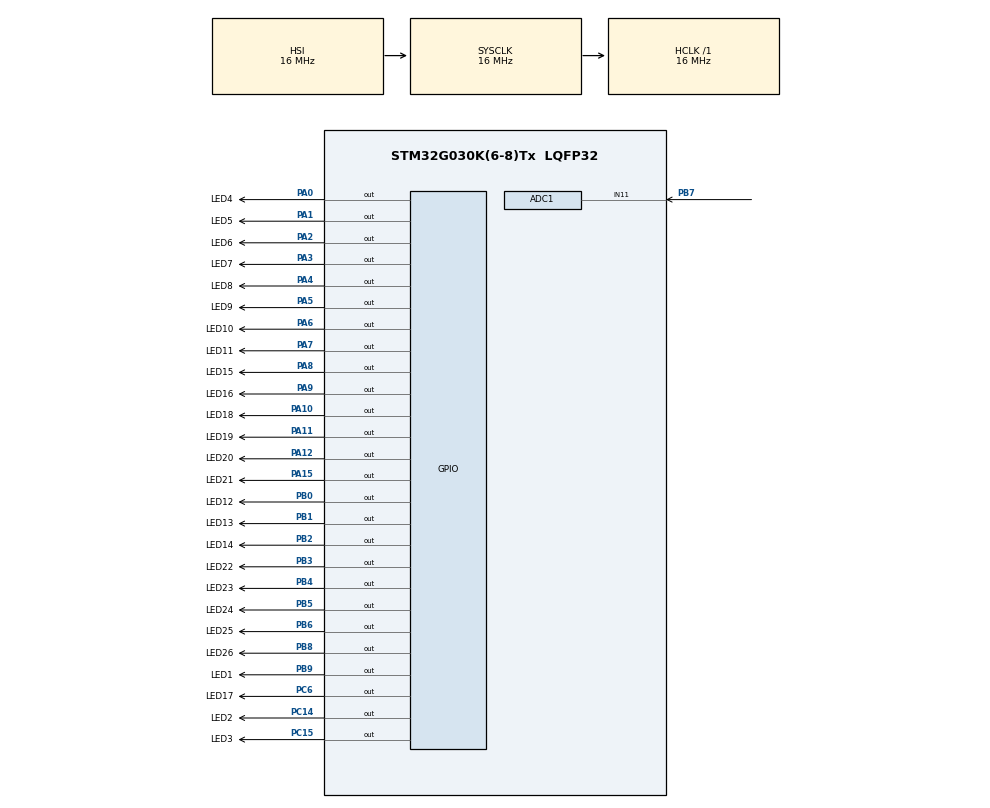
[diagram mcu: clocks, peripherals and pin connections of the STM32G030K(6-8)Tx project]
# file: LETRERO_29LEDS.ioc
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ADC1.Channel-0\#ChannelRegularConversion=ADC_CHANNEL_11
ADC1.NbrOfConversionFlag=1
ADC1.Rank-0\#ChannelRegularConversion=1
ADC1.SamplingTime-0\#ChannelRegularConversion=ADC_SAMPLINGTIME_COMMON_1
ADC1.SamplingTimeCommon1=ADC_SAMPLETIME_160CYCLES_5
ADC1.SamplingTimeCommon2=ADC_SAMPLETIME_160CYCLES_5
ADC1.SelectedChannel=ADC_CHANNEL_11
ADC1.master=1
Mcu.Family=STM32G0
Mcu.Name=STM32G030K(6-8)Tx
Mcu.Package=LQFP32
NVIC.ADC1_IRQn=true\:0\:0\:false\:false\:true\:true\:true\:true
PA0.GPIO_Label=LED4
PA0.GPIO_ModeDefaultOutputPP=GPIO_MODE_OUTPUT_OD
PA0.GPIO_PuPd=GPIO_NOPULL
PA0.Signal=GPIO_Output
PA1.GPIO_Label=LED5
PA1.GPIO_ModeDefaultOutputPP=GPIO_MODE_OUTPUT_OD
PA1.GPIO_PuPd=GPIO_NOPULL
PA1.Signal=GPIO_Output
PA10.GPIO_Label=LED18
PA10.GPIO_ModeDefaultOutputPP=GPIO_MODE_OUTPUT_OD
PA10.GPIO_PuPd=GPIO_NOPULL
PA10.Signal=GPIO_Output
PA11\ [PA9].GPIO_Label=LED19
PA11\ [PA9].GPIO_ModeDefaultOutputPP=GPIO_MODE_OUTPUT_OD
PA11\ [PA9].GPIO_PuPd=GPIO_NOPULL
PA11\ [PA9].Signal=GPIO_Output
PA12\ [PA10].GPIO_Label=LED20
PA12\ [PA10].GPIO_ModeDefaultOutputPP=GPIO_MODE_OUTPUT_OD
PA12\ [PA10].GPIO_PuPd=GPIO_NOPULL
PA12\ [PA10].Signal=GPIO_Output
PA13.Mode=Serial_Wire
PA13.Signal=SYS_SWDIO
PA14-BOOT0.Mode=Serial_Wire
PA14-BOOT0.Signal=SYS_SWCLK
PA15.GPIO_Label=LED21
PA15.GPIO_ModeDefaultOutputPP=GPIO_MODE_OUTPUT_OD
PA15.GPIO_PuPd=GPIO_NOPULL
PA15.Signal=GPIO_Output
PA2.GPIO_Label=LED6
PA2.GPIO_ModeDefaultOutputPP=GPIO_MODE_OUTPUT_OD
PA2.GPIO_PuPd=GPIO_NOPULL
PA2.Signal=GPIO_Output
PA3.GPIO_Label=LED7
PA3.GPIO_ModeDefaultOutputPP=GPIO_MODE_OUTPUT_OD
PA3.GPIO_PuPd=GPIO_NOPULL
PA3.Signal=GPIO_Output
PA4.GPIO_Label=LED8
PA4.GPIO_ModeDefaultOutputPP=GPIO_MODE_OUTPUT_OD
PA4.GPIO_PuPd=GPIO_NOPULL
PA4.Signal=GPIO_Output
PA5.GPIO_Label=LED9
PA5.GPIO_ModeDefaultOutputPP=GPIO_MODE_OUTPUT_OD
PA5.GPIO_PuPd=GPIO_NOPULL
PA5.Signal=GPIO_Output
PA6.GPIO_Label=LED10
PA6.GPIO_ModeDefaultOutputPP=GPIO_MODE_OUTPUT_OD
PA6.GPIO_PuPd=GPIO_NOPULL
PA6.Signal=GPIO_Output
PA7.GPIO_Label=LED11
PA7.GPIO_ModeDefaultOutputPP=GPIO_MODE_OUTPUT_OD
PA7.GPIO_PuPd=GPIO_NOPULL
PA7.Signal=GPIO_Output
PA8.GPIO_Label=LED15
PA8.GPIO_ModeDefaultOutputPP=GPIO_MODE_OUTPUT_OD
PA8.GPIO_PuPd=GPIO_NOPULL
PA8.Signal=GPIO_Output
PA9.GPIO_Label=LED16
PA9.GPIO_ModeDefaultOutputPP=GPIO_MODE_OUTPUT_OD
PA9.GPIO_PuPd=GPIO_NOPULL
PA9.Signal=GPIO_Output
PB0.GPIO_Label=LED12
PB0.GPIO_ModeDefaultOutputPP=GPIO_MODE_OUTPUT_OD
PB0.GPIO_PuPd=GPIO_NOPULL
PB0.Signal=GPIO_Output
PB1.GPIO_Label=LED13
PB1.GPIO_ModeDefaultOutputPP=GPIO_MODE_OUTPUT_OD
PB1.GPIO_PuPd=GPIO_NOPULL
PB1.Signal=GPIO_Output
PB2.GPIO_Label=LED14
PB2.GPIO_ModeDefaultOutputPP=GPIO_MODE_OUTPUT_OD
PB2.GPIO_PuPd=GPIO_NOPULL
PB2.Signal=GPIO_Output
PB3.GPIO_Label=LED22
PB3.GPIO_ModeDefaultOutputPP=GPIO_MODE_OUTPUT_OD
PB3.GPIO_PuPd=GPIO_NOPULL
PB3.Signal=GPIO_Output
PB4.GPIO_Label=LED23
PB4.GPIO_ModeDefaultOutputPP=GPIO_MODE_OUTPUT_OD
PB4.GPIO_PuPd=GPIO_NOPULL
PB4.Signal=GPIO_Output
PB5.GPIO_Label=LED24
PB5.GPIO_ModeDefaultOutputPP=GPIO_MODE_OUTPUT_OD
PB5.GPIO_PuPd=GPIO_NOPULL
PB5.Signal=GPIO_Output
PB6.GPIO_Label=LED25
PB6.GPIO_ModeDefaultOutputPP=GPIO_MODE_OUTPUT_OD
PB6.GPIO_PuPd=GPIO_NOPULL
PB6.Signal=GPIO_Output
PB7.Mode=IN11
PB7.Signal=ADC1_IN11
PB8.GPIO_Label=LED26
PB8.GPIO_ModeDefaultOutputPP=GPIO_MODE_OUTPUT_OD
PB8.GPIO_PuPd=GPIO_NOPULL
PB8.Signal=GPIO_Output
PB9.GPIO_Label=LED1
PB9.GPIO_ModeDefaultOutputPP=GPIO_MODE_OUTPUT_OD
PB9.GPIO_PuPd=GPIO_NOPULL
PB9.GPIO_Speed=GPIO_SPEED_FREQ_LOW
PB9.Signal=GPIO_Output
PC14-OSC32_IN\ (PC14).GPIO_Label=LED2
PC14-OSC32_IN\ (PC14).GPIO_ModeDefaultOutputPP=GPIO_MODE_OUTPUT_OD
PC14-OSC32_IN\ (PC14).GPIO_PuPd=GPIO_NOPULL
PC14-OSC32_IN\ (PC14).Signal=GPIO_Output
PC15-OSC32_OUT\ (PC15).GPIO_Label=LED3
PC15-OSC32_OUT\ (PC15).GPIO_ModeDefaultOutputPP=GPIO_MODE_OUTPUT_OD
PC15-OSC32_OUT\ (PC15).GPIO_PuPd=GPIO_NOPULL
PC15-OSC32_OUT\ (PC15).Signal=GPIO_Output
PC6.GPIO_Label=LED17
PC6.GPIO_ModeDefaultOutputPP=GPIO_MODE_OUTPUT_OD
PC6.GPIO_PuPd=GPIO_NOPULL
PC6.Signal=GPIO_Output
ProjectManager.HeapSize=0x200
ProjectManager.StackSize=0x400
ProjectManager.TargetToolchain=STM32CubeIDE
RCC.AHBFreq_Value=16000000
RCC.CortexFreq_Value=16000000
RCC.EXTERNAL_CLOCK_VALUE=12288000
RCC.HCLKFreq_Value=16000000
RCC.HSE_VALUE=8000000
RCC.HSI_VALUE=16000000
RCC.LSE_VALUE=32768
RCC.SYSCLKFreq_VALUE=16000000
RCC.VCOOutputFreq_Value=128000000
board=custom

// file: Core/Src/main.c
/* USER CODE BEGIN Header */
/**
  ******************************************************************************
  * @file           : main.c
  * @brief          : Main program body
  ******************************************************************************
  * @attention
  *
  * Copyright (c) 2023 STMicroelectronics.
  * All rights reserved.
  *
  * This software is licensed under terms that can be found in the LICENSE file
  * in the root directory of this software component.
  * If no LICENSE file comes with this software, it is provided AS-IS.
  *
  ******************************************************************************
  */
/* USER CODE END Header */
#include "main.h"

/* USER CODE BEGIN Includes */
#define L1(state)  HAL_GPIO_WritePin(LED1_GPIO_Port,  LED1_Pin,  state)
#define L2(state)  HAL_GPIO_WritePin(LED2_GPIO_Port,  LED2_Pin,  state)
#define L3(state)  HAL_GPIO_WritePin(LED3_GPIO_Port,  LED3_Pin,  state)
#define L4(state)  HAL_GPIO_WritePin(LED4_GPIO_Port,  LED4_Pin,  state)
#define L5(state)  HAL_GPIO_WritePin(LED5_GPIO_Port,  LED5_Pin,  state)
#define L6(state)  HAL_GPIO_WritePin(LED6_GPIO_Port,  LED6_Pin,  state)
#define L7(state)  HAL_GPIO_WritePin(LED7_GPIO_Port,  LED7_Pin,  state)
#define L8(state)  HAL_GPIO_WritePin(LED8_GPIO_Port,  LED8_Pin,  state)
#define L9(state)  HAL_GPIO_WritePin(LED9_GPIO_Port,  LED9_Pin,  state)
#define L10(state) HAL_GPIO_WritePin(LED10_GPIO_Port, LED10_Pin, state)
#define L11(state) HAL_GPIO_WritePin(LED11_GPIO_Port, LED11_Pin, state)
#define L12(state) HAL_GPIO_WritePin(LED12_GPIO_Port, LED12_Pin, state)
#define L13(state) HAL_GPIO_WritePin(LED13_GPIO_Port, LED13_Pin, state)
#define L14(state) HAL_GPIO_WritePin(LED14_GPIO_Port, LED14_Pin, state)
#define L15(state) HAL_GPIO_WritePin(LED15_GPIO_Port, LED15_Pin, state)
#define L16(state) HAL_GPIO_WritePin(LED16_GPIO_Port, LED16_Pin, state)
#define L17(state) HAL_GPIO_WritePin(LED17_GPIO_Port, LED17_Pin, state)
#define L18(state) HAL_GPIO_WritePin(LED18_GPIO_Port, LED18_Pin, state)
#define L19(state) HAL_GPIO_WritePin(LED19_GPIO_Port, LED19_Pin, state)
#define L20(state) HAL_GPIO_WritePin(LED20_GPIO_Port, LED20_Pin, state)
#define L21(state) HAL_GPIO_WritePin(LED21_GPIO_Port, LED21_Pin, state)
#define L22(state) HAL_GPIO_WritePin(LED22_GPIO_Port, LED22_Pin, state)
#define L23(state) HAL_GPIO_WritePin(LED23_GPIO_Port, LED23_Pin, state)
#define L24(state) HAL_GPIO_WritePin(LED24_GPIO_Port, LED24_Pin, state)
#define L25(state) HAL_GPIO_WritePin(LED25_GPIO_Port, LED25_Pin, state)
#define L26(state) HAL_GPIO_WritePin(LED26_GPIO_Port, LED26_Pin, state)

/* USER CODE END Includes */

ADC_HandleTypeDef hadc1;

/* USER CODE BEGIN PV */
uint8_t cantLeds=10;//cambiar Encender aleatorio
uint16_t adc;
static float vel;
/* USER CODE END PV */

void SystemClock_Config(void);
static void MX_GPIO_Init(void);
static void MX_ADC1_Init(void);
/* USER CODE BEGIN PFP */
void HAL_ADC_ConvCpltCallback(ADC_HandleTypeDef* hadc);
float Refresh_ADC_Value(void);

void ControlLeds(uint8_t led, uint8_t state);
void Barrido1(uint8_t veces, uint16_t tiempo, uint16_t tiempo2);
void Encender_1_Led(uint8_t num_led);
void Encender_1_Led_2(uint8_t num_led);
void Encender_1_Led_3(uint8_t num_led);
void Encender_1_Led_4(uint8_t num_led, uint8_t indice);
void AbrirApagar(uint8_t veces, uint16_t tiempo, uint16_t tiempo2);
void CerrarApagar(uint8_t veces, uint16_t tiempo, uint16_t tiempo2);
void Girar(uint8_t veces, uint16_t tiempo);
void VolumenAbrir(uint8_t veces, uint16_t tiempo, uint16_t tiempo2);
void VolumenCerrar(uint8_t veces, uint16_t tiempo, uint16_t tiempo2);
void ArmarIzquierda(uint8_t veces, uint16_t tiempo, uint16_t tiempo2);
void Blink(uint8_t veces, uint16_t tiempo);
void EncenderAleatorio(uint8_t veces, uint16_t tiempo, uint16_t tiempo2);

/* USER CODE END PFP */

int main(void)
{

  /* MCU Configuration--------------------------------------------------------*/

  /* Reset of all peripherals, Initializes the Flash interface and the Systick. */
  HAL_Init();

  /* Configure the system clock */
  SystemClock_Config();

  /* Initialize all configured peripherals */
  MX_GPIO_Init();
  MX_ADC1_Init();
  /* USER CODE BEGIN 2 */
  HAL_ADC_Start_IT(&hadc1);
  HAL_Delay(1500);
  /* USER CODE END 2 */

  /* Infinite loop */
  /* USER CODE BEGIN WHILE */

  while (1)
  {

	  //NORMAL DE 4 A 26 LETRAS (actual 2024)
	  Barrido1(2,60,2500);Blink(2,2000);
	  ArmarIzquierda(2,30,2000);Blink(2,2000);
	  VolumenAbrir(2,30,2500);Blink(2,2000);

	  EncenderAleatorio(2,150,2000);Blink(2,2000);//esto no quiere luis
	  Girar(4,100);Blink(2,2000);//esto no quiere luis

	  VolumenCerrar(2,30,2500);Blink(2,2000);

	  CerrarApagar(1,150,2000);//esto no quiere luis
	  AbrirApagar(1,150,2000);//esto no quiere luis
	  AbrirApagar(1,150,2000);//esto no quiere luis
	  CerrarApagar(1,150,2000);//esto no quiere luis
	  Blink(2,2000);//esto no quiere luis

	  //END NORMAL DE 4 A 26 LETRAS
	  /*Barrido1(2,60,2500);
	  Blink(3,2000);

	  ArmarIzquierda(2,30,2000);
	  Blink(3,2000);

	  Girar(4,100);
	  Blink(4,2000);

	  VolumenAbrir(2,30,2500);
	  Blink(3,2000);

	  CerrarApagar(4,150,2000);
	  Blink(3,2000);

	  ArmarIzquierda(1,30,2000);
	  Blink(2,2000);*/

	  // para 3 letras
	  /*
	  Barrido1(2,60,1500);
	  Blink(1,1000);

	  ArmarIzquierda(4,30,1000);
	  Blink(1,1000);

	  Girar(4,100);
	  Blink(1,1000);

	  VolumenAbrir(2,80,1500);
	  Blink(1,1000);

	  CerrarApagar(4,150,1200);
	  Blink(1,1000);

	  ArmarIzquierda(3,30,1000);
	  Blink(3,1000);
	  */

	  //END 3 LETRAS

	  /*
	  // para 2 letras
	  Barrido1(2,100,1500);
	  Blink(1,1000);

	  ArmarIzquierda(4,50,1000);
	  Blink(1,1000);

	  Girar(4,100);
	  Blink(1,1000);

	  VolumenAbrir(2,100,1500);
	  Blink(1,1000);

	  CerrarApagar(2,200,1200);
	  Blink(1,1000);

	  ArmarIzquierda(2,50,1000);
	  Blink(1,1000);
	  */
	  //END 2 LETRAS

    /* USER CODE END WHILE */

  }
}

void SystemClock_Config(void)
{
  RCC_OscInitTypeDef RCC_OscInitStruct = {0};
  RCC_ClkInitTypeDef RCC_ClkInitStruct = {0};

  /** Configure the main internal regulator output voltage
  */
  HAL_PWREx_ControlVoltageScaling(PWR_REGULATOR_VOLTAGE_SCALE1);

  /** Initializes the RCC Oscillators according to the specified parameters
  * in the RCC_OscInitTypeDef structure.
  */
  RCC_OscInitStruct.OscillatorType = RCC_OSCILLATORTYPE_HSI;
  RCC_OscInitStruct.HSIState = RCC_HSI_ON;
  RCC_OscInitStruct.HSIDiv = RCC_HSI_DIV1;
  RCC_OscInitStruct.HSICalibrationValue = RCC_HSICALIBRATION_DEFAULT;
  RCC_OscInitStruct.PLL.PLLState = RCC_PLL_NONE;
  if (HAL_RCC_OscConfig(&RCC_OscInitStruct) != HAL_OK)
  {
    Error_Handler();
  }

  /** Initializes the CPU, AHB and APB buses clocks
  */
  RCC_ClkInitStruct.ClockType = RCC_CLOCKTYPE_HCLK|RCC_CLOCKTYPE_SYSCLK
                              |RCC_CLOCKTYPE_PCLK1;
  RCC_ClkInitStruct.SYSCLKSource = RCC_SYSCLKSOURCE_HSI;
  RCC_ClkInitStruct.AHBCLKDivider = RCC_SYSCLK_DIV1;
  RCC_ClkInitStruct.APB1CLKDivider = RCC_HCLK_DIV1;

  if (HAL_RCC_ClockConfig(&RCC_ClkInitStruct, FLASH_LATENCY_0) != HAL_OK)
  {
    Error_Handler();
  }
}

static void MX_ADC1_Init(void)
{

  ADC_ChannelConfTypeDef sConfig = {0};

  /** Configure the global features of the ADC (Clock, Resolution, Data Alignment and number of conversion)
  */
  hadc1.Instance = ADC1;
  hadc1.Init.ClockPrescaler = ADC_CLOCK_SYNC_PCLK_DIV2;
  hadc1.Init.Resolution = ADC_RESOLUTION_12B;
  hadc1.Init.DataAlign = ADC_DATAALIGN_RIGHT;
  hadc1.Init.ScanConvMode = ADC_SCAN_DISABLE;
  hadc1.Init.EOCSelection = ADC_EOC_SINGLE_CONV;
  hadc1.Init.LowPowerAutoWait = DISABLE;
  hadc1.Init.LowPowerAutoPowerOff = DISABLE;
  hadc1.Init.ContinuousConvMode = DISABLE;
  hadc1.Init.NbrOfConversion = 1;
  hadc1.Init.DiscontinuousConvMode = DISABLE;
  hadc1.Init.ExternalTrigConv = ADC_SOFTWARE_START;
  hadc1.Init.ExternalTrigConvEdge = ADC_EXTERNALTRIGCONVEDGE_NONE;
  hadc1.Init.DMAContinuousRequests = DISABLE;
  hadc1.Init.Overrun = ADC_OVR_DATA_PRESERVED;
  hadc1.Init.SamplingTimeCommon1 = ADC_SAMPLETIME_160CYCLES_5;
  hadc1.Init.SamplingTimeCommon2 = ADC_SAMPLETIME_160CYCLES_5;
  hadc1.Init.OversamplingMode = DISABLE;
  hadc1.Init.TriggerFrequencyMode = ADC_TRIGGER_FREQ_HIGH;
  if (HAL_ADC_Init(&hadc1) != HAL_OK)
  {
    Error_Handler();
  }

  /** Configure Regular Channel
  */
  sConfig.Channel = ADC_CHANNEL_11;
  sConfig.Rank = ADC_REGULAR_RANK_1;
  sConfig.SamplingTime = ADC_SAMPLINGTIME_COMMON_1;
  if (HAL_ADC_ConfigChannel(&hadc1, &sConfig) != HAL_OK)
  {
    Error_Handler();
  }

}

static void MX_GPIO_Init(void)
{
  GPIO_InitTypeDef GPIO_InitStruct = {0};

  /* GPIO Ports Clock Enable */
  __HAL_RCC_GPIOB_CLK_ENABLE();
  __HAL_RCC_GPIOC_CLK_ENABLE();
  __HAL_RCC_GPIOA_CLK_ENABLE();

  /*Configure GPIO pin Output Level */
  HAL_GPIO_WritePin(GPIOB, LED1_Pin|LED12_Pin|LED13_Pin|LED14_Pin
                          |LED22_Pin|LED23_Pin|LED24_Pin|LED25_Pin
                          |LED26_Pin, GPIO_PIN_RESET);

  /*Configure GPIO pin Output Level */
  HAL_GPIO_WritePin(GPIOC, LED2_Pin|LED3_Pin|LED17_Pin, GPIO_PIN_RESET);

  /*Configure GPIO pin Output Level */
  HAL_GPIO_WritePin(GPIOA, LED4_Pin|LED5_Pin|LED6_Pin|LED7_Pin
                          |LED8_Pin|LED9_Pin|LED10_Pin|LED11_Pin
                          |LED15_Pin|LED16_Pin|LED18_Pin|LED19_Pin
                          |LED20_Pin|LED21_Pin, GPIO_PIN_RESET);

  /*Configure GPIO pins : LED1_Pin LED12_Pin LED13_Pin LED14_Pin
                           LED22_Pin LED23_Pin LED24_Pin LED25_Pin
                           LED26_Pin */
  GPIO_InitStruct.Pin = LED1_Pin|LED12_Pin|LED13_Pin|LED14_Pin
                          |LED22_Pin|LED23_Pin|LED24_Pin|LED25_Pin
                          |LED26_Pin;
  GPIO_InitStruct.Mode = GPIO_MODE_OUTPUT_OD;
  GPIO_InitStruct.Pull = GPIO_NOPULL;
  GPIO_InitStruct.Speed = GPIO_SPEED_FREQ_LOW;
  HAL_GPIO_Init(GPIOB, &GPIO_InitStruct);

  /*Configure GPIO pins : LED2_Pin LED3_Pin LED17_Pin */
  GPIO_InitStruct.Pin = LED2_Pin|LED3_Pin|LED17_Pin;
  GPIO_InitStruct.Mode = GPIO_MODE_OUTPUT_OD;
  GPIO_InitStruct.Pull = GPIO_NOPULL;
  GPIO_InitStruct.Speed = GPIO_SPEED_FREQ_LOW;
  HAL_GPIO_Init(GPIOC, &GPIO_InitStruct);

  /*Configure GPIO pins : LED4_Pin LED5_Pin LED6_Pin LED7_Pin
                           LED8_Pin LED9_Pin LED10_Pin LED11_Pin
                           LED15_Pin LED16_Pin LED18_Pin LED19_Pin
                           LED20_Pin LED21_Pin */
  GPIO_InitStruct.Pin = LED4_Pin|LED5_Pin|LED6_Pin|LED7_Pin
                          |LED8_Pin|LED9_Pin|LED10_Pin|LED11_Pin
                          |LED15_Pin|LED16_Pin|LED18_Pin|LED19_Pin
                          |LED20_Pin|LED21_Pin;
  GPIO_InitStruct.Mode = GPIO_MODE_OUTPUT_OD;
  GPIO_InitStruct.Pull = GPIO_NOPULL;
  GPIO_InitStruct.Speed = GPIO_SPEED_FREQ_LOW;
  HAL_GPIO_Init(GPIOA, &GPIO_InitStruct);

}

/* USER CODE BEGIN 4 */
void HAL_ADC_ConvCpltCallback(ADC_HandleTypeDef* hadc){
	adc = HAL_ADC_GetValue(&hadc1);
	vel = (float)adc/1023;
	HAL_ADC_Start_IT(&hadc1);
}

float Refresh_ADC_Value(void){
	adc = HAL_ADC_GetValue(&hadc1);
	vel = (float)adc/1023;
	HAL_ADC_Start_IT(&hadc1);
	return vel;
}

void ControlLeds(uint8_t led, uint8_t state){
	switch(led){
		case 1:  L1(state); break;
		case 2:  L2(state); break;
		case 3:  L3(state); break;
		case 4:  L4(state); break;
		case 5:  L5(state); break;
		case 6:  L6(state); break;
		case 7:  L7(state); break;
		case 8:  L8(state); break;
		case 9:  L9(state); break;
		case 10: L10(state);break;
		case 11: L11(state);break;
		case 12: L12(state);break;
		case 13: L13(state);break;
		case 14: L14(state);break;
		case 15: L15(state);break;
		case 16: L16(state);break;
		case 17: L17(state);break;
		case 18: L18(state);break;
		case 19: L19(state);break;
		case 20: L20(state);break;
		case 21: L21(state);break;
		case 22: L22(state);break;
		case 23: L23(state);break;
		case 24: L24(state);break;
		case 25: L25(state);break;
		case 26: L26(state);break;
	}
}

void Barrido1(uint8_t veces, uint16_t tiempo, uint16_t tiempo2){
	for(uint8_t v=0;v<veces;v++){
		for(uint8_t i=1; i<=cantLeds; i++){ControlLeds(i,1);HAL_Delay(tiempo*Refresh_ADC_Value());}
		HAL_Delay(tiempo2*Refresh_ADC_Value());
		for(uint8_t i=1; i<=cantLeds; i++){ControlLeds(i,0);HAL_Delay(tiempo*Refresh_ADC_Value());}
	}
}

void Encender_1_Led(uint8_t num_led){
	for(uint8_t i=1; i<=cantLeds; i++){
		if(i == num_led){
			ControlLeds(i,1);
		}else{
			ControlLeds(i,0);
		}
	}
}

void Encender_1_Led_2(uint8_t num_led){
	for(uint8_t i=1; i<=cantLeds; i++){
		if(i<=num_led){
			ControlLeds(i,1);
		}else{
			ControlLeds(i,0);
		}
	}
}

void Encender_1_Led_3(uint8_t num_led){
	for(uint8_t i=1; i<=cantLeds; i++){
		if(i>=num_led){
			ControlLeds(i,1);
		}else{
			ControlLeds(i,0);
		}
	}
}

void Encender_1_Led_4(uint8_t num_led, uint8_t indice){
	for(uint8_t i=cantLeds;i>=indice;i--){
		if(i == num_led){
			ControlLeds(i,1);
		}else{
			ControlLeds(i,0);
		}
	}
}

void AbrirApagar(uint8_t veces, uint16_t tiempo, uint16_t tiempo2){

	for(uint8_t v=0;v<veces;v++){
		uint8_t centro,impar=1,par=0;
		if(cantLeds%2==0){//si es par
			centro = cantLeds/2;
			for(uint8_t i=centro;i>=1;i--){
				ControlLeds(i, 1);
				ControlLeds(i+impar, 1);
				impar=impar+2;
				HAL_Delay(tiempo*Refresh_ADC_Value());
			}

			impar=1;
			HAL_Delay(tiempo2*Refresh_ADC_Value());

			for(uint8_t i=centro;i>=1;i--){
				ControlLeds(i, 0);
				ControlLeds(i+impar, 0);
				impar=impar+2;
				HAL_Delay(tiempo*Refresh_ADC_Value());
			}

		}else{//si es impar
			centro = (cantLeds/2)+1;
			for(uint8_t i=centro;i>=1;i--){
				ControlLeds(i, 1);
				ControlLeds(i+par, 1);
				par=par+2;
				HAL_Delay(tiempo*Refresh_ADC_Value());
			}

			par=0;
			HAL_Delay(tiempo2*Refresh_ADC_Value());

			for(uint8_t i=centro;i>=1;i--){
				ControlLeds(i, 0);
				ControlLeds(i+par, 0);
				par=par+2;
				HAL_Delay(tiempo*Refresh_ADC_Value());
			}
		}
	}
}

void CerrarApagar(uint8_t veces, uint16_t tiempo, uint16_t tiempo2){
	for(uint8_t v=0;v<veces;v++){
		uint8_t limite,centro;
		if(cantLeds%2==0){//si es par

			centro = cantLeds/2;//5
			limite = cantLeds-1;
			for(uint8_t i=1;i<=centro;i++){
				ControlLeds(i, 1);
				ControlLeds(i+limite, 1);
				limite=limite-2;
				HAL_Delay(tiempo*Refresh_ADC_Value());
			}
			limite = cantLeds-1;
			HAL_Delay(tiempo2*Refresh_ADC_Value());
			for(uint8_t i=1;i<=centro;i++){
				ControlLeds(i, 0);
				ControlLeds(i+limite, 0);
				limite=limite-2;
				HAL_Delay(tiempo*Refresh_ADC_Value());
			}

		}else{//si es impar
			centro = (cantLeds/2)+1;//5
			limite = cantLeds-1;
			for(uint8_t i=1;i<=centro;i++){
				ControlLeds(i, 1);
				ControlLeds(i+limite, 1);
				limite=limite-2;
				HAL_Delay(tiempo*Refresh_ADC_Value());
			}
			limite = cantLeds-1;
			HAL_Delay(tiempo2*Refresh_ADC_Value());
			for(uint8_t i=1;i<=centro;i++){
				ControlLeds(i, 0);
				ControlLeds(i+limite, 0);
				limite=limite-2;
				HAL_Delay(tiempo*Refresh_ADC_Value());
			}
		}
	}
}

void Girar(uint8_t veces, uint16_t tiempo){
	for(uint8_t v=0;v<veces;v++){
		AbrirApagar(1,tiempo*Refresh_ADC_Value(),0);
		CerrarApagar(1,tiempo*Refresh_ADC_Value(),0);
	}
}

void VolumenAbrir(uint8_t veces, uint16_t tiempo, uint16_t tiempo2){
	for(uint8_t v=0;v<veces;v++){
		uint8_t l;
		for(uint8_t i=1;i<=cantLeds;i++){
			l=i;
			HAL_Delay(tiempo*Refresh_ADC_Value());
			for(uint8_t i=l;i<=cantLeds;i++){
				Encender_1_Led_2(i);
				HAL_Delay(tiempo*Refresh_ADC_Value());
			}
			for(uint8_t i=cantLeds;i>=l;i--){
				Encender_1_Led_2(i);
				HAL_Delay(tiempo*Refresh_ADC_Value());
			}
		}
		HAL_Delay(tiempo2*Refresh_ADC_Value());
	}
}

void VolumenCerrar(uint8_t veces, uint16_t tiempo, uint16_t tiempo2){
	for(uint8_t v=0;v<veces;v++){
		uint8_t l;
		for(uint8_t i=cantLeds;i>=1;i--){
			l=i;
			HAL_Delay(tiempo*Refresh_ADC_Value());
			for(uint8_t i=l;i<=cantLeds;i++){
				Encender_1_Led_3(i);
				HAL_Delay(tiempo*Refresh_ADC_Value());
			}
			for(uint8_t i=cantLeds;i>=l;i--){
				Encender_1_Led_3(i);
				HAL_Delay(tiempo*Refresh_ADC_Value());
			}
		}
		HAL_Delay(tiempo2*Refresh_ADC_Value());
	}
}
void ArmarIzquierda(uint8_t veces, uint16_t tiempo, uint16_t tiempo2){
	for(uint8_t v=0;v<veces;v++){

		uint8_t l=1;
		for(uint8_t i=cantLeds;i>=1;i--){
			for(uint8_t i=cantLeds;i>=l;i--){
				Encender_1_Led_4(i,l);
				if(l<cantLeds/2){
					HAL_Delay(tiempo*Refresh_ADC_Value());
				}else if(l>=cantLeds-2){
					HAL_Delay(tiempo*Refresh_ADC_Value()*4);
				}else{
					HAL_Delay(tiempo*Refresh_ADC_Value()*2);
				}
				//HAL_Delay(tiempo);
			}

			if(l>=cantLeds){
				l=1;
			}else{
				ControlLeds(l, 1);
				l++;
			}
		}

		HAL_Delay(tiempo2*Refresh_ADC_Value());
	}
}

void EncenderAleatorio(uint8_t veces, uint16_t tiempo, uint16_t tiempo2){

	//uint8_t secuencia1[2]={1,2};
	//uint8_t secuencia2[2]={2,1};

	//uint8_t secuencia1[3]={2,3,1};
	//uint8_t secuencia2[3]={3,1,2};

	//uint8_t secuencia1[4]={2,4,1,3};
	//uint8_t secuencia2[4]={1,3,2,4};

	//uint8_t secuencia1[5]={2,4,1,3,5};
	//uint8_t secuencia2[5]={5,1,4,2,3};

	//uint8_t secuencia1[6]={6,2,4,1,3,5};
	//uint8_t secuencia2[6]={5,1,4,2,6,3};

	//uint8_t secuencia1[7]={6,2,7,4,1,3,5};
	//uint8_t secuencia2[7]={5,1,4,2,6,3,7};

	//uint8_t secuencia1[8]={6,2,7,4,8,1,3,5};
	//uint8_t secuencia2[8]={5,8,1,4,2,6,3,7};

	//uint8_t secuencia1[9]={6,2,7,4,9,8,1,3,5};
	//uint8_t secuencia2[9]={5,8,1,4,2,6,9,3,7};

	uint8_t secuencia1[10]={6,2,7,4,9,8,1,10,3,5};
	uint8_t secuencia2[10]={5,8,10,1,4,2,6,9,3,7};

	//uint8_t secuencia1[11]={2,8,10,4,1,6,7,5,11,3,9};
	//uint8_t secuencia2[11]={5,3,7,8,1,2,10,11,9,4,6};

	//uint8_t secuencia1[12]={2,8,10,4,1,6,7,12,5,11,3,9};
	//uint8_t secuencia2[12]={5,12,3,7,8,1,2,10,11,9,4,6};

	//uint8_t secuencia1[13]={13,2,8,10,4,1,6,7,12,5,11,3,9};
	//uint8_t secuencia2[13]={5,12,3,7,8,1,13,2,10,11,9,4,6};

	//uint8_t secuencia1[14]={2,8,13,10,4,1,6,7,12,5,11,3,9,14};
	//uint8_t secuencia2[14]={5,12,3,13,7,8,1,2,14,10,11,9,4,6};

	//uint8_t secuencia1[15]={2,8,13,10,4,1,15,6,7,12,5,11,3,9,14};
	//uint8_t secuencia2[15]={5,12,3,13,7,8,1,2,14,10,11,9,4,6,15};

	//uint8_t secuencia1[16]={2,8,13,10,4,1,15,6,7,16,12,5,11,3,9,14};
	//uint8_t secuencia2[16]={16,5,12,3,13,7,8,1,2,14,10,11,9,4,6,15};

	//uint8_t secuencia1[17]={2,17,8,13,10,4,1,15,6,7,16,12,5,11,3,9,14};
	//uint8_t secuencia2[17]={16,5,12,3,13,7,8,1,17,2,14,10,11,9,4,6,15};

	//uint8_t secuencia1[18]={16,2,8,13,10,4,17,1,15,6,7,12,18,5,11,3,9,14};
	//uint8_t secuencia2[18]={17,5,12,3,13,7,8,16,1,2,14,10,18,11,9,4,6,15};

	//uint8_t secuencia1[19]={16,2,8,13,10,4,17,1,19,15,6,7,12,18,5,11,3,9,14};
	//uint8_t secuencia2[19]={17,5,12,3,19,13,7,8,16,1,2,14,10,18,11,9,4,6,15};

	//uint8_t secuencia1[20]={16,2,8,13,10,4,17,1,19,15,6,7,12,18,5,11,3,9,20,14};
	//uint8_t secuencia2[20]={17,5,12,19,3,13,7,8,16,1,20,2,14,10,18,11,9,4,6,15};

	for(uint8_t i=0;i<cantLeds;i++){
		ControlLeds(secuencia1[i], 1);
		HAL_Delay(tiempo*Refresh_ADC_Value());
	}

	HAL_Delay(tiempo2*Refresh_ADC_Value());

	for(int8_t i=cantLeds-1;i>=0;i--){
		ControlLeds(secuencia1[i], 0);
		HAL_Delay(tiempo*Refresh_ADC_Value());
	}

	HAL_Delay(tiempo2*Refresh_ADC_Value()*0.20);

	for(uint8_t i=0;i<cantLeds;i++){
		ControlLeds(secuencia2[i], 1);
		HAL_Delay(tiempo*Refresh_ADC_Value());
	}

	HAL_Delay(tiempo2*Refresh_ADC_Value());

	for(int8_t i=cantLeds-1;i>=0;i--){
		ControlLeds(secuencia2[i], 0);
		HAL_Delay(tiempo*Refresh_ADC_Value());
	}

	HAL_Delay(tiempo2*Refresh_ADC_Value()*0.20);

}

void Blink(uint8_t veces, uint16_t tiempo){
	for(uint8_t v=0;v<veces;v++){
		for(uint8_t i=1;i<=cantLeds;i++){
			ControlLeds(i, 1);
		}
		HAL_Delay(tiempo*Refresh_ADC_Value());
		for(uint8_t i=1;i<=cantLeds;i++){
			ControlLeds(i, 0);
		}
		HAL_Delay((tiempo*Refresh_ADC_Value())/5);
	}
}
/* USER CODE END 4 */

void Error_Handler(void)
{
  __disable_irq();
  while (1)
  {
  }
}
